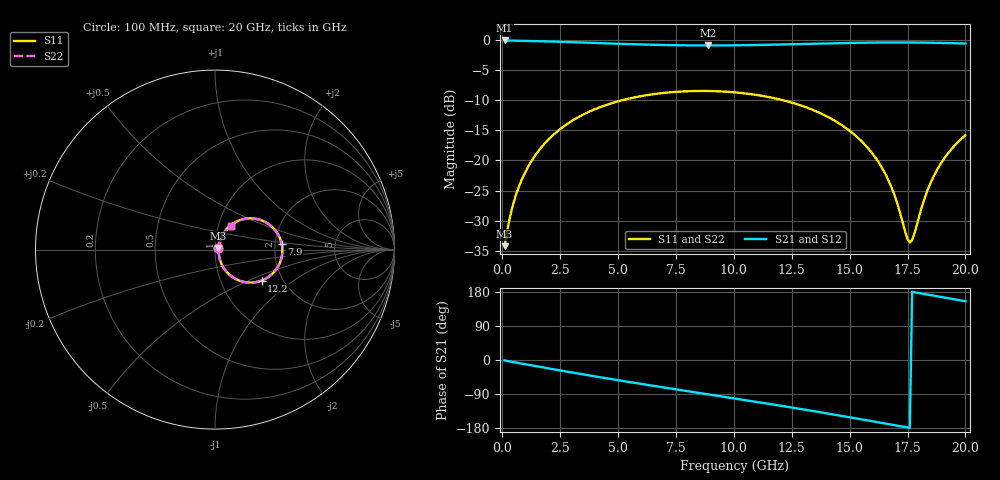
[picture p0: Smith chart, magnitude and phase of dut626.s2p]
! Touchstone file exported from HFSS 2026.1.0
!  File:  C:/ffzhzh/LocalFiles/Ansys_Project_Files/temp_train_TSV_RDL_626_1783125656_53076.aedt
!  Generated:  08:50:31 AM Jul  4, 2026
!  Design:  TSV_RDL
!  Project:  temp_train_TSV_RDL_626_1783125656_53076
! Variables:
!  h_bsmrdl = 3.78um
!  h_ox = 20um
!  h_rdl = 5um
!  h_sub = 60.78um
!  h_tmrdl = 3.81um
!  h_tsv = 60.78um
!  h_via = 3um
!  l_bsmrdl = 686.12um
!  l_sub = 3539.99um
!  l_tmrdl = 242.98um
!  m_sub = 200um
!  pitch = 31.56um
!  r_tsv = 7.75um
!  s_tmrdl = 10um
!  w_bsmrdl = 17.24um
!  w_sub = 500um
!  w_tmrdl = 19.33um
!  x_tsv_center1 = 252.645um
!  x_tsv_center2 = 956.005um
!  x_tsv_center3 = 1218.315um
!  x_tsv_center4 = 1921.675um
!  x_tsv_center5 = 2183.985um
!  x_tsv_center6 = 2887.345um
# GHz S MA R 50.000000
! Terminal data exported
! Port[1] = TM_RDL1_1_T1
! Port[2] = TM_RDL5_1_T1
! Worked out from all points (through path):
!   200 points, 100 MHz to 20 GHz, reference 50 ohm
!   highest |S21| = -0.15 dB at 100 MHz (marker M1); lowest = -1.0 dB at 8.9 GHz (marker M2)
!   group delay of S21, straight-line fit = 27.8 ps
!   lowest |S11| = -34.2 dB at 100 MHz (marker M3), VSWR 1.04, Z = 51.8 + j0.889 ohm
!   |S11| at or under -10 dB: start of sweep to 5.227 GHz; 12.07 GHz to end of sweep
!   |S22| runs from -34.2 to -8.5 dB; largest |S21 - S12| = 2.3e-14
!   S11 on the Smith chart (normalised r, x): 100 MHz: 1.04, +0.02; 7.9 GHz: 2.17, +0.17; 12.2 GHz: 1.56, -0.60; 20 GHz: 1.16, +0.32
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0.1  0.01949 26.1  0.9826 -1.2  0.9826 -1.2  0.01949 26.1
! Gamma 0 0 0 0
! Port Impedance 50 0 50 0
0.3  0.03183 49.9  0.9807 -3.5  0.9807 -3.5  0.03183 49.9
0.5  0.04557 57.6  0.9787 -5.7  0.9787 -5.7  0.04557 57.6
1.2  0.0944 62.7  0.973 -13.5  0.973 -13.5  0.0944 62.7
2.2  0.1624 57.1  0.9625 -24.4  0.9625 -24.4  0.1624 57.1
3.5  0.2397 45.7  0.9443 -38.1  0.9443 -38.1  0.2397 45.7
5.1  0.3117 30.7  0.921 -54.3  0.921 -54.3  0.3117 30.7
6.8  0.3584 15.1  0.9023 -70.8  0.9023 -70.8  0.3584 15.1
7.9  0.3727 5.2  0.8955 -81.2  0.8955 -81.2  0.3727 5.2
8.9  0.375 -3.8  0.8935 -90.6  0.8935 -90.6  0.375 -3.8
10.1  0.3647 -14.5  0.8961 -102.0  0.8961 -102.0  0.3646 -14.6
12.2  0.3118 -33.5  0.9112 -122.4  0.9112 -122.4  0.3118 -33.6
13.4  0.262 -44.4  0.9231 -134.4  0.9231 -134.4  0.262 -44.5
15.4  0.1512 -61.3  0.9405 -155.4  0.9405 -155.4  0.1512 -61.3
16.1  0.1063 -65.1  0.9441 -162.9  0.9441 -162.9  0.1062 -65.2
16.7  0.06682 -64.5  0.9457 -169.4  0.9457 -169.4  0.06676 -64.6
17.6  0.02093 -4.2  0.9451 -179.1  0.9451 -179.1  0.02085 -4.2
17.8  0.02476 28.1  0.9445 178.7  0.9445 178.7  0.02471 28.2
18.3  0.05243 57.0  0.9421 173.3  0.9421 173.3  0.05243 57.1
18.7  0.0784 60.9  0.9395 168.9  0.9395 168.9  0.07841 60.9
19.3  0.1176 59.9  0.9344 162.5  0.9344 162.5  0.1176 59.9
20  0.1616 55.5  0.927 155.1  0.927 155.1  0.1616 55.5
